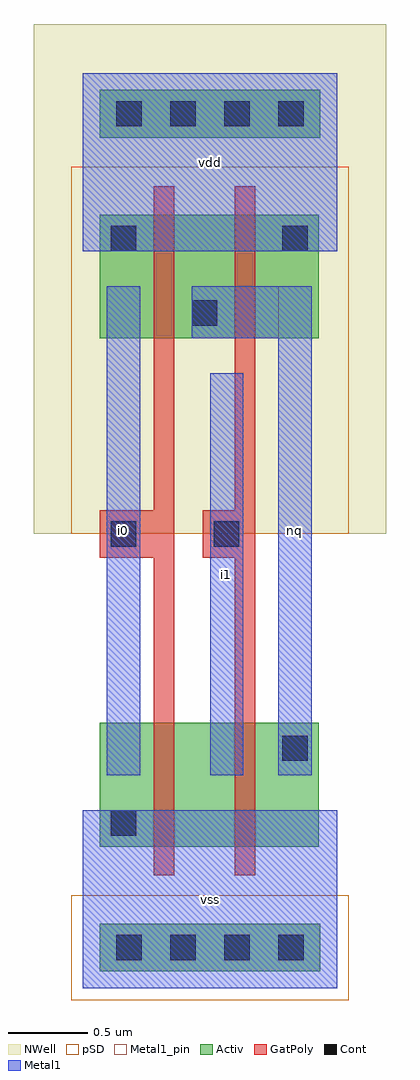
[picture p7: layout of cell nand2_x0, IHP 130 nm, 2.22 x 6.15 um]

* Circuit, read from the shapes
.subckt nand2_x0 i0 i1 nq vdd vss
XM1 n1 i0 vss vss sg13_lv_nmos w=0.78u l=0.13u
XM2 nq i1 n1 vss sg13_lv_nmos w=0.78u l=0.13u
XM3 nq i0 vdd vdd sg13_lv_pmos w=0.78u l=0.13u
XM4 vdd i1 nq vdd sg13_lv_pmos w=0.78u l=0.13u
.ends

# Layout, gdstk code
import gdstk
lib = gdstk.Library(unit=1e-6, precision=1e-09)
def R(c, l, rs):  # rectangles x0, y0, x1, y1
    for r in rs: c.add(gdstk.rectangle(r[:2], r[2:], *l))
def P(c, l, *ps):  # polygons
    for p in ps: c.add(gdstk.Polygon(p, *l))
Activ = (1, 0)
GatPoly = (5, 0)
Cont = (6, 0)
Metal1 = (8, 0)
Metal1_pin = (8, 2)
pSD = (14, 0)
NWell = (31, 0)

nand2_x0 = lib.new_cell('nand2_x0')
P(nand2_x0, Activ, [(0.575,0.89),(0.575,1.67),(0.805,1.67),(0.805,0.89),(0.575,0.89)],
  [(0.725,0.89),(0.725,1.67),(0.955,1.67),(0.955,0.89),(0.725,0.89)],
  [(0.58,0.89),(0.58,1.67),(0.95,1.67),(0.95,0.89),(0.58,0.89)],
  [(0.645,0.89),(0.645,1.67),(0.885,1.67),(0.885,0.89),(0.645,0.89)],
  [(0.955,0.89),(0.955,1.67),(1.085,1.67),(1.085,0.89),(0.955,0.89)],
  [(0.105,0.89),(0.105,1.67),(0.405,1.67),(0.405,0.89),(0.105,0.89)],
  [(0.105,0.105),(0.105,0.405),(1.495,0.405),(1.495,0.105),(0.105,0.105)],
  [(0.105,0.89),(0.105,1.19),(0.405,1.19),(0.405,0.89),(0.105,0.89)],
  [(0.105,0.89),(0.105,1.67),(0.375,1.67),(0.375,0.89),(0.105,0.89)],
  [(0.215,0.89),(0.215,1.67),(0.445,1.67),(0.445,0.89),(0.215,0.89)],
  [(0.445,0.89),(0.445,1.67),(0.575,1.67),(0.575,0.89),(0.445,0.89)],
  [(0.14,0.105),(0.14,0.405),(1.46,0.405),(1.46,0.105),(0.14,0.105)],
  [(0.105,4.57),(0.105,4.87),(0.405,4.87),(0.405,4.57),(0.105,4.57)],
  [(0.105,4.09),(0.105,4.87),(0.375,4.87),(0.375,4.09),(0.105,4.09)],
  [(0.14,5.355),(0.14,5.655),(1.46,5.655),(1.46,5.355),(0.14,5.355)],
  [(0.105,5.355),(0.105,5.655),(1.495,5.655),(1.495,5.355),(0.105,5.355)],
  [(1.185,4.57),(1.185,4.87),(1.485,4.87),(1.485,4.57),(1.185,4.57)],
  [(0.445,4.09),(0.445,4.87),(0.575,4.87),(0.575,4.09),(0.445,4.09)],
  [(1.155,4.09),(1.155,4.87),(1.485,4.87),(1.485,4.09),(1.155,4.09)],
  [(1.185,4.09),(1.185,4.87),(1.485,4.87),(1.485,4.09),(1.185,4.09)],
  [(0.105,4.09),(0.105,4.87),(0.405,4.87),(0.405,4.09),(0.105,4.09)],
  [(0.955,4.09),(0.955,4.87),(1.085,4.87),(1.085,4.09),(0.955,4.09)],
  [(0.215,4.09),(0.215,4.87),(0.445,4.87),(0.445,4.09),(0.215,4.09)],
  [(1.085,4.09),(1.085,4.87),(1.315,4.87),(1.315,4.09),(1.085,4.09)],
  [(1.155,0.89),(1.155,1.67),(1.485,1.67),(1.485,0.89),(1.155,0.89)],
  [(0.615,4.09),(0.615,4.87),(0.915,4.87),(0.915,4.09),(0.615,4.09)],
  [(0.725,4.09),(0.725,4.87),(0.955,4.87),(0.955,4.09),(0.725,4.09)],
  [(0.645,4.09),(0.645,4.87),(0.885,4.87),(0.885,4.09),(0.645,4.09)],
  [(0.615,4.1),(0.615,4.4),(0.915,4.4),(0.915,4.1),(0.615,4.1)],
  [(1.085,0.89),(1.085,1.67),(1.315,1.67),(1.315,0.89),(1.085,0.89)],
  [(1.185,1.36),(1.185,1.66),(1.485,1.66),(1.485,1.36),(1.185,1.36)],
  [(0.575,4.09),(0.575,4.87),(0.805,4.87),(0.805,4.09),(0.575,4.09)],
  [(1.185,0.89),(1.185,1.67),(1.485,1.67),(1.485,0.89),(1.185,0.89)])
P(nand2_x0, GatPoly, [(0.955,0.71),(0.955,1.85),(1.085,1.85),(1.085,0.71),(0.955,0.71)],
  [(0.905,2.71),(0.905,3.01),(1.02,3.01),(1.02,2.71),(0.905,2.71)],
  [(0.955,0.71),(0.955,3.91),(1.085,3.91),(1.085,0.71),(0.955,0.71)],
  [(0.955,3.91),(0.955,5.05),(1.085,5.05),(1.085,3.91),(0.955,3.91)],
  [(0.755,2.71),(0.755,3.01),(1.055,3.01),(1.055,2.71),(0.755,2.71)],
  [(0.445,0.71),(0.445,3.91),(0.575,3.91),(0.575,0.71),(0.445,0.71)],
  [(0.255,2.71),(0.255,3.01),(0.51,3.01),(0.51,2.71),(0.255,2.71)],
  [(0.445,0.71),(0.445,1.85),(0.575,1.85),(0.575,0.71),(0.445,0.71)],
  [(0.105,2.71),(0.105,3.01),(0.405,3.01),(0.405,2.71),(0.105,2.71)],
  [(0.445,3.91),(0.445,5.05),(0.575,5.05),(0.575,3.91),(0.445,3.91)])
P(nand2_x0, Cont, [(0.175,0.96),(0.175,1.12),(0.335,1.12),(0.335,0.96),(0.175,0.96)],
  [(1.23,0.175),(1.23,0.335),(1.39,0.335),(1.39,0.175),(1.23,0.175)],
  [(0.21,0.175),(0.21,0.335),(0.37,0.335),(0.37,0.175),(0.21,0.175)],
  [(0.55,0.175),(0.55,0.335),(0.71,0.335),(0.71,0.175),(0.55,0.175)],
  [(0.89,0.175),(0.89,0.335),(1.05,0.335),(1.05,0.175),(0.89,0.175)],
  [(1.23,5.425),(1.23,5.585),(1.39,5.585),(1.39,5.425),(1.23,5.425)],
  [(0.89,5.425),(0.89,5.585),(1.05,5.585),(1.05,5.425),(0.89,5.425)],
  [(0.55,5.425),(0.55,5.585),(0.71,5.585),(0.71,5.425),(0.55,5.425)],
  [(0.21,5.425),(0.21,5.585),(0.37,5.585),(0.37,5.425),(0.21,5.425)],
  [(1.255,4.64),(1.255,4.8),(1.415,4.8),(1.415,4.64),(1.255,4.64)],
  [(0.175,4.64),(0.175,4.8),(0.335,4.8),(0.335,4.64),(0.175,4.64)],
  [(1.255,1.43),(1.255,1.59),(1.415,1.59),(1.415,1.43),(1.255,1.43)],
  [(0.685,4.17),(0.685,4.33),(0.845,4.33),(0.845,4.17),(0.685,4.17)],
  [(0.825,2.78),(0.825,2.94),(0.985,2.94),(0.985,2.78),(0.825,2.78)],
  [(0.175,2.78),(0.175,2.94),(0.335,2.94),(0.335,2.78),(0.175,2.78)])
R(nand2_x0, Metal1, [(0,0,1.6,1.12), (0.15,1.34,0.36,4.42), (0.8,1.34,1.01,3.87), (1.23,1.34,1.44,4.42), (0,4.64,1.6,5.76)])
P(nand2_x0, Metal1, [(0.21,0.095),(0.21,0.415),(1.39,0.415),(1.39,0.095),(0.21,0.095)],
  [(0.095,0.96),(0.095,1.12),(0.415,1.12),(0.415,0.96),(0.095,0.96)],
  [(0,0),(0,1.12),(1.6,1.12),(1.6,0),(0,0)],
  [(0.21,5.345),(0.21,5.665),(1.39,5.665),(1.39,5.345),(0.21,5.345)],
  [(0.095,4.64),(0.095,4.8),(0.415,4.8),(0.415,4.64),(0.095,4.64)],
  [(0,4.64),(0,5.76),(1.6,5.76),(1.6,4.64),(0,4.64)],
  [(1.175,4.64),(1.175,4.8),(1.495,4.8),(1.495,4.64),(1.175,4.64)],
  [(1.23,1.34),(1.23,4.42),(1.44,4.42),(1.44,1.34),(1.23,1.34)],
  [(1.255,1.34),(1.255,1.67),(1.415,1.67),(1.415,1.34),(1.255,1.34)],
  [(0.765,4.09),(0.765,4.42),(1.335,4.42),(1.335,4.09),(0.765,4.09)],
  [(1.255,1.35),(1.255,1.67),(1.415,1.67),(1.415,1.35),(1.255,1.35)],
  [(0.685,4.09),(0.685,4.41),(0.845,4.41),(0.845,4.09),(0.685,4.09)],
  [(0.685,4.09),(0.685,4.42),(0.845,4.42),(0.845,4.09),(0.685,4.09)],
  [(1.23,4.09),(1.23,4.41),(1.44,4.41),(1.44,4.09),(1.23,4.09)],
  [(0.8,1.34),(0.8,3.87),(1.01,3.87),(1.01,1.34),(0.8,1.34)],
  [(0.825,2.7),(0.825,3.02),(0.985,3.02),(0.985,2.7),(0.825,2.7)],
  [(0.15,1.34),(0.15,4.42),(0.36,4.42),(0.36,1.34),(0.15,1.34)],
  [(0.175,2.7),(0.175,3.02),(0.335,3.02),(0.335,2.7),(0.175,2.7)])
R(nand2_x0, Metal1_pin, [(0,0,1.6,1.12), (0,0,1.6,1.12), (0.15,1.34,0.36,4.42), (0.15,1.34,0.36,4.42), (0.8,1.34,1.01,3.87), (0.8,1.34,1.01,3.87), (1.23,1.34,1.44,4.42), (1.23,1.34,1.44,4.42), (0,4.64,1.6,5.76), (0,4.64,1.6,5.76)])
P(nand2_x0, pSD, [(-0.075,-0.075),(-0.075,0.585),(1.675,0.585),(1.675,-0.075),(-0.075,-0.075)],
  [(1.005,4.27),(1.005,5.17),(1.665,5.17),(1.665,4.27),(1.005,4.27)],
  [(0.035,3.91),(0.035,5.05),(0.985,5.05),(0.985,3.91),(0.035,3.91)],
  [(-0.075,4.27),(-0.075,5.17),(0.585,5.17),(0.585,4.27),(-0.075,4.27)],
  [(0.465,3.79),(0.465,5.17),(1.065,5.17),(1.065,3.79),(0.465,3.79)],
  [(0.435,3.79),(0.435,5.17),(1.095,5.17),(1.095,3.79),(0.435,3.79)],
  [(0.145,3.79),(0.145,5.17),(0.875,5.17),(0.875,3.79),(0.145,3.79)],
  [(0.545,3.91),(0.545,5.05),(1.495,5.05),(1.495,3.91),(0.545,3.91)],
  [(0.975,3.79),(0.975,5.17),(1.665,5.17),(1.665,3.79),(0.975,3.79)],
  [(0.435,3.8),(0.435,4.7),(1.095,4.7),(1.095,3.8),(0.435,3.8)],
  [(1.005,3.79),(1.005,5.17),(1.665,5.17),(1.665,3.79),(1.005,3.79)],
  [(-0.04,-0.075),(-0.04,0.585),(1.64,0.585),(1.64,-0.075),(-0.04,-0.075)],
  [(-0.075,3.79),(-0.075,5.17),(0.555,5.17),(0.555,3.79),(-0.075,3.79)],
  [(-0.075,3.79),(-0.075,5.17),(0.585,5.17),(0.585,3.79),(-0.075,3.79)],
  [(-0.075,2.86),(-0.075,5.17),(1.675,5.17),(1.675,2.86),(-0.075,2.86)],
  [(0.655,3.79),(0.655,5.17),(1.385,5.17),(1.385,3.79),(0.655,3.79)])
P(nand2_x0, NWell, [(0.875,3.78),(0.875,5.18),(1.795,5.18),(1.795,3.78),(0.875,3.78)],
  [(-0.205,4.26),(-0.205,5.18),(0.715,5.18),(0.715,4.26),(-0.205,4.26)],
  [(-0.095,3.78),(-0.095,5.18),(1.115,5.18),(1.115,3.78),(-0.095,3.78)],
  [(-0.205,5.045),(-0.205,5.965),(1.805,5.965),(1.805,5.045),(-0.205,5.045)],
  [(-0.205,3.78),(-0.205,5.18),(0.685,5.18),(0.685,3.78),(-0.205,3.78)],
  [(0.875,4.26),(0.875,5.18),(1.795,5.18),(1.795,4.26),(0.875,4.26)],
  [(-0.205,3.78),(-0.205,5.18),(0.715,5.18),(0.715,3.78),(-0.205,3.78)],
  [(0.415,3.78),(0.415,5.18),(1.625,5.18),(1.625,3.78),(0.415,3.78)],
  [(0.305,3.78),(0.305,5.18),(1.225,5.18),(1.225,3.78),(0.305,3.78)],
  [(0.335,3.78),(0.335,5.18),(1.195,5.18),(1.195,3.78),(0.335,3.78)],
  [(0.845,3.78),(0.845,5.18),(1.795,5.18),(1.795,3.78),(0.845,3.78)],
  [(-0.17,5.045),(-0.17,5.965),(1.77,5.965),(1.77,5.045),(-0.17,5.045)],
  [(-0.31,2.86),(-0.31,6.07),(1.91,6.07),(1.91,2.86),(-0.31,2.86)],
  [(0.305,3.79),(0.305,4.71),(1.225,4.71),(1.225,3.79),(0.305,3.79)])
nand2_x0.add(gdstk.Label('vss', (0.8,0.56), layer=8, texttype=25))
nand2_x0.add(gdstk.Label('vdd', (0.8,5.2), layer=8, texttype=25))
nand2_x0.add(gdstk.Label('nq', (1.335,2.88), layer=8, texttype=25))
nand2_x0.add(gdstk.Label('i1', (0.905,2.605), layer=8, texttype=25))
nand2_x0.add(gdstk.Label('i0', (0.255,2.88), layer=8, texttype=25))

lib.write_gds('nand2_x0.gds')
